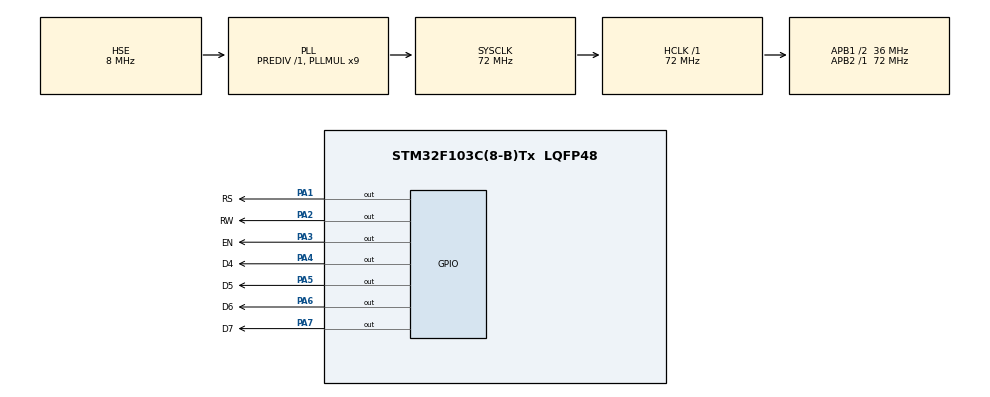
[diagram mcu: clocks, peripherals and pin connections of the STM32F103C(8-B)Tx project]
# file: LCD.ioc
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Mcu.Family=STM32F1
Mcu.Name=STM32F103C(8-B)Tx
Mcu.Package=LQFP48
NVIC.PriorityGroup=NVIC_PRIORITYGROUP_4
PA1.GPIO_Label=RS
PA1.GPIO_Speed=GPIO_SPEED_FREQ_HIGH
PA1.PinState=GPIO_PIN_RESET
PA1.Signal=GPIO_Output
PA13.Mode=Serial_Wire
PA13.Signal=SYS_JTMS-SWDIO
PA14.Mode=Serial_Wire
PA14.Signal=SYS_JTCK-SWCLK
PA2.GPIO_Label=RW
PA2.GPIO_Speed=GPIO_SPEED_FREQ_HIGH
PA2.Signal=GPIO_Output
PA3.GPIO_Label=EN
PA3.GPIO_Speed=GPIO_SPEED_FREQ_HIGH
PA3.Signal=GPIO_Output
PA4.GPIO_Label=D4
PA4.GPIO_Speed=GPIO_SPEED_FREQ_HIGH
PA4.Signal=GPIO_Output
PA5.GPIO_Label=D5
PA5.GPIO_Speed=GPIO_SPEED_FREQ_HIGH
PA5.Signal=GPIO_Output
PA6.GPIO_Label=D6
PA6.GPIO_Speed=GPIO_SPEED_FREQ_HIGH
PA6.Signal=GPIO_Output
PA7.GPIO_Label=D7
PA7.GPIO_Speed=GPIO_SPEED_FREQ_HIGH
PA7.Signal=GPIO_Output
PD0-OSC_IN.Mode=HSE-External-Oscillator
PD0-OSC_IN.Signal=RCC_OSC_IN
PD1-OSC_OUT.Mode=HSE-External-Oscillator
PD1-OSC_OUT.Signal=RCC_OSC_OUT
ProjectManager.HeapSize=0x200
ProjectManager.StackSize=0x400
ProjectManager.TargetToolchain=STM32CubeIDE
RCC.AHBFreq_Value=72000000
RCC.APB1CLKDivider=RCC_HCLK_DIV2
RCC.APB1Freq_Value=36000000
RCC.APB1TimFreq_Value=72000000
RCC.APB2Freq_Value=72000000
RCC.APB2TimFreq_Value=72000000
RCC.HCLKFreq_Value=72000000
RCC.PLLMUL=RCC_PLL_MUL9
RCC.PLLSourceVirtual=RCC_PLLSOURCE_HSE
RCC.SYSCLKFreq_VALUE=72000000
RCC.SYSCLKSource=RCC_SYSCLKSOURCE_PLLCLK
RCC.USBFreq_Value=72000000
VP_TIM1_VS_ClockSourceINT.Mode=Internal
board=custom

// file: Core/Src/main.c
/* USER CODE BEGIN Header */
/**
  ******************************************************************************
  * @file           : main.c
  * @brief          : Main program body
  ******************************************************************************
  * @attention
  *
  * Copyright (c) 2022 STMicroelectronics.
  * All rights reserved.
  *
  * This software is licensed under terms that can be found in the LICENSE file
  * in the root directory of this software component.
  * If no LICENSE file comes with this software, it is provided AS-IS.
  *
  ******************************************************************************
  */
/* USER CODE END Header */
#include "main.h"

TIM_HandleTypeDef htim1;

void SystemClock_Config(void);
static void MX_GPIO_Init(void);
static void MX_TIM1_Init(void);
/* USER CODE BEGIN PFP */

void convertirpines(unsigned char pines){
	switch(pines){

	case 0:
		HAL_GPIO_WritePin(D7_GPIO_Port, D7_Pin, GPIO_PIN_RESET);
		HAL_GPIO_WritePin(D6_GPIO_Port, D6_Pin, GPIO_PIN_RESET);
		HAL_GPIO_WritePin(D5_GPIO_Port, D5_Pin, GPIO_PIN_RESET);
		HAL_GPIO_WritePin(D4_GPIO_Port, D4_Pin, GPIO_PIN_RESET);
	break;

	case 1:
		HAL_GPIO_WritePin(D7_GPIO_Port, D7_Pin, GPIO_PIN_RESET);
		HAL_GPIO_WritePin(D6_GPIO_Port, D6_Pin, GPIO_PIN_RESET);
		HAL_GPIO_WritePin(D5_GPIO_Port, D5_Pin, GPIO_PIN_RESET);
		HAL_GPIO_WritePin(D4_GPIO_Port, D4_Pin, GPIO_PIN_SET);
	break;

	case 2:
		HAL_GPIO_WritePin(D7_GPIO_Port, D7_Pin, GPIO_PIN_RESET);
		HAL_GPIO_WritePin(D6_GPIO_Port, D6_Pin, GPIO_PIN_RESET);
		HAL_GPIO_WritePin(D5_GPIO_Port, D5_Pin, GPIO_PIN_SET);
		HAL_GPIO_WritePin(D4_GPIO_Port, D4_Pin, GPIO_PIN_RESET);
	break;

	case 3:
		HAL_GPIO_WritePin(D7_GPIO_Port, D7_Pin, GPIO_PIN_RESET);
		HAL_GPIO_WritePin(D6_GPIO_Port, D6_Pin, GPIO_PIN_RESET);
		HAL_GPIO_WritePin(D5_GPIO_Port, D5_Pin, GPIO_PIN_SET);
		HAL_GPIO_WritePin(D4_GPIO_Port, D4_Pin, GPIO_PIN_SET);
	break;

	case 4:
		HAL_GPIO_WritePin(D7_GPIO_Port, D7_Pin, GPIO_PIN_RESET);
		HAL_GPIO_WritePin(D6_GPIO_Port, D6_Pin, GPIO_PIN_SET);
		HAL_GPIO_WritePin(D5_GPIO_Port, D5_Pin, GPIO_PIN_RESET);
		HAL_GPIO_WritePin(D4_GPIO_Port, D4_Pin, GPIO_PIN_RESET);
	break;

	case 5:
		HAL_GPIO_WritePin(D7_GPIO_Port, D7_Pin, GPIO_PIN_RESET);
		HAL_GPIO_WritePin(D6_GPIO_Port, D6_Pin, GPIO_PIN_SET);
		HAL_GPIO_WritePin(D5_GPIO_Port, D5_Pin, GPIO_PIN_RESET);
		HAL_GPIO_WritePin(D4_GPIO_Port, D4_Pin, GPIO_PIN_SET);
	break;

	case 6:
		HAL_GPIO_WritePin(D7_GPIO_Port, D7_Pin, GPIO_PIN_RESET);
		HAL_GPIO_WritePin(D6_GPIO_Port, D6_Pin, GPIO_PIN_SET);
		HAL_GPIO_WritePin(D5_GPIO_Port, D5_Pin, GPIO_PIN_SET);
		HAL_GPIO_WritePin(D4_GPIO_Port, D4_Pin, GPIO_PIN_RESET);
	break;

	case 7:
		HAL_GPIO_WritePin(D7_GPIO_Port, D7_Pin, GPIO_PIN_RESET);
		HAL_GPIO_WritePin(D6_GPIO_Port, D6_Pin, GPIO_PIN_SET);
		HAL_GPIO_WritePin(D5_GPIO_Port, D5_Pin, GPIO_PIN_SET);
		HAL_GPIO_WritePin(D4_GPIO_Port, D4_Pin, GPIO_PIN_SET);
	break;

	case 8:
		HAL_GPIO_WritePin(D7_GPIO_Port, D7_Pin, GPIO_PIN_SET);
		HAL_GPIO_WritePin(D6_GPIO_Port, D6_Pin, GPIO_PIN_RESET);
		HAL_GPIO_WritePin(D5_GPIO_Port, D5_Pin, GPIO_PIN_RESET);
		HAL_GPIO_WritePin(D4_GPIO_Port, D4_Pin, GPIO_PIN_RESET);
	break;

	case 9:
		HAL_GPIO_WritePin(D7_GPIO_Port, D7_Pin, GPIO_PIN_SET);
		HAL_GPIO_WritePin(D6_GPIO_Port, D6_Pin, GPIO_PIN_RESET);
		HAL_GPIO_WritePin(D5_GPIO_Port, D5_Pin, GPIO_PIN_RESET);
		HAL_GPIO_WritePin(D4_GPIO_Port, D4_Pin, GPIO_PIN_SET);
	break;

	case 10:
		HAL_GPIO_WritePin(D7_GPIO_Port, D7_Pin, GPIO_PIN_SET);
		HAL_GPIO_WritePin(D6_GPIO_Port, D6_Pin, GPIO_PIN_RESET);
		HAL_GPIO_WritePin(D5_GPIO_Port, D5_Pin, GPIO_PIN_SET);
		HAL_GPIO_WritePin(D4_GPIO_Port, D4_Pin, GPIO_PIN_RESET);
	break;

	case 11:
		HAL_GPIO_WritePin(D7_GPIO_Port, D7_Pin, GPIO_PIN_SET);
		HAL_GPIO_WritePin(D6_GPIO_Port, D6_Pin, GPIO_PIN_RESET);
		HAL_GPIO_WritePin(D5_GPIO_Port, D5_Pin, GPIO_PIN_SET);
		HAL_GPIO_WritePin(D4_GPIO_Port, D4_Pin, GPIO_PIN_SET);
	break;

	case 12:
		HAL_GPIO_WritePin(D7_GPIO_Port, D7_Pin, GPIO_PIN_SET);
		HAL_GPIO_WritePin(D6_GPIO_Port, D6_Pin, GPIO_PIN_SET);
		HAL_GPIO_WritePin(D5_GPIO_Port, D5_Pin, GPIO_PIN_RESET);
		HAL_GPIO_WritePin(D4_GPIO_Port, D4_Pin, GPIO_PIN_RESET);
	break;

	case 13:
		HAL_GPIO_WritePin(D7_GPIO_Port, D7_Pin, GPIO_PIN_SET);
		HAL_GPIO_WritePin(D6_GPIO_Port, D6_Pin, GPIO_PIN_SET);
		HAL_GPIO_WritePin(D5_GPIO_Port, D5_Pin, GPIO_PIN_RESET);
		HAL_GPIO_WritePin(D4_GPIO_Port, D4_Pin, GPIO_PIN_SET);
	break;

	case 14:
		HAL_GPIO_WritePin(D7_GPIO_Port, D7_Pin, GPIO_PIN_SET);
		HAL_GPIO_WritePin(D6_GPIO_Port, D6_Pin, GPIO_PIN_SET);
		HAL_GPIO_WritePin(D5_GPIO_Port, D5_Pin, GPIO_PIN_SET);
		HAL_GPIO_WritePin(D4_GPIO_Port, D4_Pin, GPIO_PIN_RESET);
	break;

	case 15:
		HAL_GPIO_WritePin(D7_GPIO_Port, D7_Pin, GPIO_PIN_SET);
		HAL_GPIO_WritePin(D6_GPIO_Port, D6_Pin, GPIO_PIN_SET);
		HAL_GPIO_WritePin(D5_GPIO_Port, D5_Pin, GPIO_PIN_SET);
		HAL_GPIO_WritePin(D4_GPIO_Port, D4_Pin, GPIO_PIN_SET);
	break;
	}
}
void DisplayCMD(unsigned char comando){
	unsigned char porta;
	porta=(porta & 0x0F)|(0xF0 & comando); //0b1111111 -> x=76543210 -> (1111)Porta (1111)comando
	//porta = comando;//n

	porta= porta>>4;

	convertirpines(porta);

	HAL_GPIO_WritePin(GPIOA, RS_Pin, GPIO_PIN_RESET);
	HAL_GPIO_WritePin(GPIOA, EN_Pin, GPIO_PIN_SET);

	HAL_Delay(1);

	HAL_GPIO_WritePin(GPIOA, EN_Pin, GPIO_PIN_RESET);

	HAL_Delay(1);

	porta=(porta & 0x0F)|(comando & 0x0F);
	convertirpines(porta);

	HAL_GPIO_WritePin(GPIOA, RS_Pin, GPIO_PIN_RESET);
	HAL_GPIO_WritePin(GPIOA, EN_Pin, GPIO_PIN_SET);

	HAL_Delay(1);

	HAL_GPIO_WritePin(GPIOA, EN_Pin, GPIO_PIN_RESET);

	HAL_Delay(3);
}

void DisplayPIN(unsigned char comando){
	unsigned char porta;
	porta=(porta & 0x0F)|(0xF0 & comando);
	//porta = comando;//n
	convertirpines(porta);

	HAL_GPIO_WritePin(GPIOA, RS_Pin, GPIO_PIN_SET);
	HAL_GPIO_WritePin(GPIOA, EN_Pin, GPIO_PIN_SET);

	HAL_Delay(1);

	HAL_GPIO_WritePin(GPIOA, EN_Pin, GPIO_PIN_RESET);

	HAL_Delay(1);

	porta=(porta & 0x0F)|(comando<<4);
	convertirpines(porta);

	HAL_GPIO_WritePin(GPIOA, RS_Pin, GPIO_PIN_SET);
	HAL_GPIO_WritePin(GPIOA, EN_Pin, GPIO_PIN_SET);

	HAL_Delay(1);

	HAL_GPIO_WritePin(GPIOA, EN_Pin, GPIO_PIN_RESET);

	HAL_Delay(3);
}
void LCD_init(){
	convertirpines(0);
	HAL_Delay(40);
	DisplayCMD(0x03);
	HAL_Delay(5);
	DisplayCMD(0x03);
	HAL_Delay(1);
	DisplayCMD(0x03);
	HAL_Delay(10);
	DisplayCMD(0x02);
	HAL_Delay(10);
	DisplayCMD(0x82);
	HAL_Delay(1);
	DisplayCMD(0x01);
	HAL_Delay(1);
	DisplayCMD(0x08);

}
/* USER CODE END PFP */

int main(void)
{

  /* MCU Configuration--------------------------------------------------------*/

  /* Reset of all peripherals, Initializes the Flash interface and the Systick. */
  HAL_Init();

  /* Configure the system clock */
  SystemClock_Config();

  /* Initialize all configured peripherals */
  MX_GPIO_Init();
  MX_TIM1_Init();
  /* USER CODE BEGIN 2 */

  LCD_init();

  HAL_GPIO_WritePin(RS_GPIO_Port, RS_Pin, GPIO_PIN_SET);
  HAL_GPIO_WritePin(EN_GPIO_Port, EN_Pin, GPIO_PIN_RESET);

  DisplayCMD(0x48);

  /* USER CODE END 2 */

  /* Infinite loop */
  /* USER CODE BEGIN WHILE */
  while (1)
  {
	  DisplayCMD(0x48);

    /* USER CODE END WHILE */

  }
}

void SystemClock_Config(void)
{
  RCC_OscInitTypeDef RCC_OscInitStruct = {0};
  RCC_ClkInitTypeDef RCC_ClkInitStruct = {0};

  /** Initializes the RCC Oscillators according to the specified parameters
  * in the RCC_OscInitTypeDef structure.
  */
  RCC_OscInitStruct.OscillatorType = RCC_OSCILLATORTYPE_HSE;
  RCC_OscInitStruct.HSEState = RCC_HSE_ON;
  RCC_OscInitStruct.HSEPredivValue = RCC_HSE_PREDIV_DIV1;
  RCC_OscInitStruct.HSIState = RCC_HSI_ON;
  RCC_OscInitStruct.PLL.PLLState = RCC_PLL_ON;
  RCC_OscInitStruct.PLL.PLLSource = RCC_PLLSOURCE_HSE;
  RCC_OscInitStruct.PLL.PLLMUL = RCC_PLL_MUL9;
  if (HAL_RCC_OscConfig(&RCC_OscInitStruct) != HAL_OK)
  {
    Error_Handler();
  }
  /** Initializes the CPU, AHB and APB buses clocks
  */
  RCC_ClkInitStruct.ClockType = RCC_CLOCKTYPE_HCLK|RCC_CLOCKTYPE_SYSCLK
                              |RCC_CLOCKTYPE_PCLK1|RCC_CLOCKTYPE_PCLK2;
  RCC_ClkInitStruct.SYSCLKSource = RCC_SYSCLKSOURCE_PLLCLK;
  RCC_ClkInitStruct.AHBCLKDivider = RCC_SYSCLK_DIV1;
  RCC_ClkInitStruct.APB1CLKDivider = RCC_HCLK_DIV2;
  RCC_ClkInitStruct.APB2CLKDivider = RCC_HCLK_DIV1;

  if (HAL_RCC_ClockConfig(&RCC_ClkInitStruct, FLASH_LATENCY_2) != HAL_OK)
  {
    Error_Handler();
  }
}

static void MX_TIM1_Init(void)
{

  TIM_ClockConfigTypeDef sClockSourceConfig = {0};
  TIM_MasterConfigTypeDef sMasterConfig = {0};

  htim1.Instance = TIM1;
  htim1.Init.Prescaler = 0;
  htim1.Init.CounterMode = TIM_COUNTERMODE_UP;
  htim1.Init.Period = 65535;
  htim1.Init.ClockDivision = TIM_CLOCKDIVISION_DIV1;
  htim1.Init.RepetitionCounter = 0;
  htim1.Init.AutoReloadPreload = TIM_AUTORELOAD_PRELOAD_DISABLE;
  if (HAL_TIM_Base_Init(&htim1) != HAL_OK)
  {
    Error_Handler();
  }
  sClockSourceConfig.ClockSource = TIM_CLOCKSOURCE_INTERNAL;
  if (HAL_TIM_ConfigClockSource(&htim1, &sClockSourceConfig) != HAL_OK)
  {
    Error_Handler();
  }
  sMasterConfig.MasterOutputTrigger = TIM_TRGO_RESET;
  sMasterConfig.MasterSlaveMode = TIM_MASTERSLAVEMODE_DISABLE;
  if (HAL_TIMEx_MasterConfigSynchronization(&htim1, &sMasterConfig) != HAL_OK)
  {
    Error_Handler();
  }

}

static void MX_GPIO_Init(void)
{
  GPIO_InitTypeDef GPIO_InitStruct = {0};

  /* GPIO Ports Clock Enable */
  __HAL_RCC_GPIOD_CLK_ENABLE();
  __HAL_RCC_GPIOA_CLK_ENABLE();

  /*Configure GPIO pin Output Level */
  HAL_GPIO_WritePin(GPIOA, RS_Pin|RW_Pin|EN_Pin|D4_Pin
                          |D5_Pin|D6_Pin|D7_Pin, GPIO_PIN_RESET);

  /*Configure GPIO pins : RS_Pin RW_Pin EN_Pin D4_Pin
                           D5_Pin D6_Pin D7_Pin */
  GPIO_InitStruct.Pin = RS_Pin|RW_Pin|EN_Pin|D4_Pin
                          |D5_Pin|D6_Pin|D7_Pin;
  GPIO_InitStruct.Mode = GPIO_MODE_OUTPUT_PP;
  GPIO_InitStruct.Pull = GPIO_NOPULL;
  GPIO_InitStruct.Speed = GPIO_SPEED_FREQ_HIGH;
  HAL_GPIO_Init(GPIOA, &GPIO_InitStruct);

}

void Error_Handler(void)
{
  __disable_irq();
  while (1)
  {
  }
}
